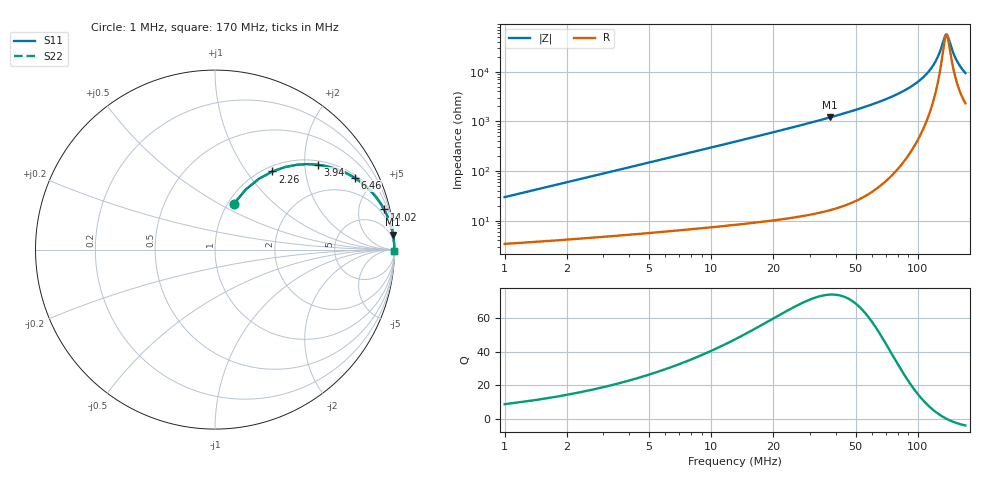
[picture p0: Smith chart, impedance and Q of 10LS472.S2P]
! Coilcraft 1008LS-472 Chip Inductor
! 5 August 2002
# MHZ S MA R 50
!Freq  MagS11  AngS11  MagS21  AngS21  MagS12  AngS12  MagS22  AngS22
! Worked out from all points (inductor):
!   404 points, 1 MHz to 170 MHz, reference 50 ohm
!   read as one part in series: L = 4.7 uH near 1.84 MHz
!   highest Q = 74.1 at 37.54 MHz (marker M1), where L = 5.08 uH
!   self-resonance near 137.5 MHz
!   S11 on the Smith chart (normalised r, x): 1 MHz: 1.07, +0.59; 2.26 MHz: 1.09, +1.34; 3.94 MHz: 1.10, +2.33; 6.46 MHz: 1.12, +3.82; 14.02 MHz: 1.17, +8.37; 170 MHz: open
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1  0.2765 67.5  0.93 -15.9  0.93 -15.9  0.2765 67.5
2.26  0.5402 53.7  0.8076 -32.6  0.8076 -32.6  0.5402 53.7
3.94  0.7429 39.5  0.6373 -47.9  0.6373 -47.9  0.7429 39.5
5.2  0.8247 32.4  0.5359 -55.5  0.5359 -55.5  0.8247 32.4
6.46  0.8747 27.2  0.4573 -61.0  0.4573 -61.0  0.8747 27.2
9.4  0.9338 19.5  0.3347 -69.0  0.3347 -69.0  0.9338 19.5
14.02  0.9682 13.4  0.2314 -75.5  0.2314 -75.5  0.9682 13.4
20.74  0.985 9.0  0.1571 -80.0  0.1571 -80.0  0.985 9.0
29.56  0.9926 6.2  0.1084 -83.0  0.1084 -83.0  0.9926 6.2
37.54  0.9954 4.8  0.0831 -84.5  0.0831 -84.5  0.9954 4.8
57.7  0.998 2.8  0.04827 -86.3  0.04827 -86.3  0.998 2.8
85.84  0.9988 1.4  0.02409 -86.5  0.02409 -86.5  0.9988 1.4
101.8  0.9988 0.9  0.0151 -84.9  0.0151 -84.9  0.9988 0.9
113.98  0.9987 0.5  0.009438 -81.5  0.009438 -81.5  0.9987 0.5
124.9  0.9985 0.3  0.00505 -72.4  0.00505 -72.4  0.9985 0.3
136.24  0.9983 0.0  0.001833 -17.9  0.001833 -17.9  0.9983 0.0
138.76  0.9982 -0.0  0.00183 10.4  0.00183 10.4  0.9982 -0.0
142.12  0.9981 -0.1  0.002402 38.5  0.002402 38.5  0.9981 -0.1
148  0.998 -0.2  0.00402 59.7  0.00402 59.7  0.998 -0.2
153.88  0.9978 -0.3  0.005802 67.8  0.005802 67.8  0.9978 -0.3
161.44  0.9976 -0.4  0.008089 72.6  0.008089 72.6  0.9976 -0.4
170  0.9973 -0.6  0.01061 75.2  0.01061 75.2  0.9973 -0.6
